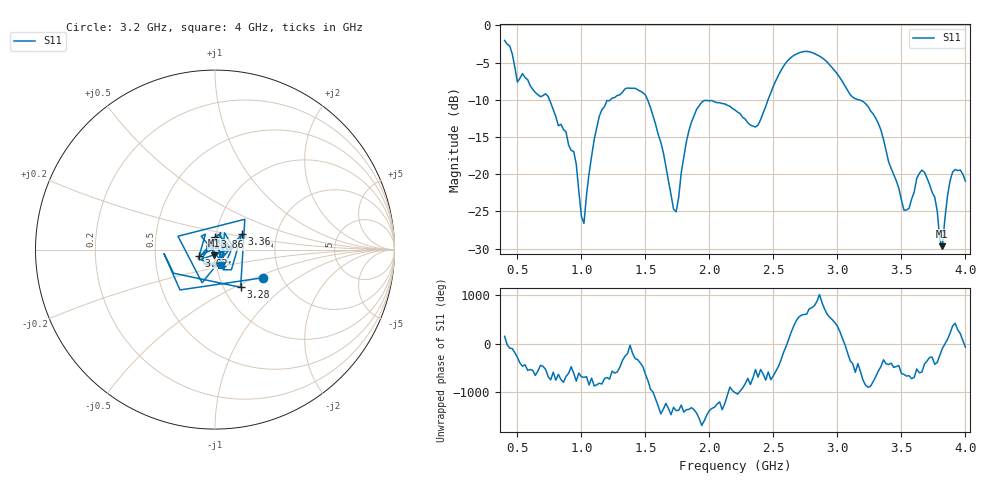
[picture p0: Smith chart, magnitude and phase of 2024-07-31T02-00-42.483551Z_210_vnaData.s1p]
!Created with skrf (http://scikit-rf.org).
# Hz S RI R 50.0
!freq ReS11 ImS11
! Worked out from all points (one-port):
!   181 points, 400 MHz to 4 GHz, reference 50 ohm
!   lowest |S11| = -29.7 dB at 3.82 GHz (marker M1), VSWR 1.07, Z = 49.5 - j3.23 ohm
!   |S11| at or under -10 dB: 750.5 MHz to 1.227 GHz (476.7 MHz wide, 48.2 % of centre); 1.517 GHz to 2.458 GHz (941 MHz wide, 47.3 % of centre); 3.166 GHz to end of sweep
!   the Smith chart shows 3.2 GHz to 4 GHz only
!   S11 on the Smith chart (normalised r, x): 3.2 GHz: 1.61, -0.56; 3.28 GHz: 1.20, -0.54; 3.36 GHz: 1.33, +0.23; 3.62 GHz: 0.84, -0.06; 3.86 GHz: 0.99, +0.14; 4 GHz: 1.05, -0.18
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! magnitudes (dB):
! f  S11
! 400 MHz  -2.0
! 500 MHz  -7.6
! 720 MHz  -9.2
! 860 MHz  -14.0
! 940 MHz  -16.9
! 1.02 GHz  -26.6
! 1.14 GHz  -12.2
! 1.3 GHz  -9.3
! 1.5 GHz  -9.4
! 1.72 GHz  -24.7
! 1.76 GHz  -23.1
! 1.82 GHz  -15.6
! 1.9 GHz  -11.3
! 2.2 GHz  -11.4
! 2.38 GHz  -13.4
! 2.66 GHz  -4.0
! 2.88 GHz  -4.4
! 3.1 GHz  -9.3
! 3.2 GHz  -10.2
! 3.28 GHz  -11.9
! 3.36 GHz  -15.3
! 3.56 GHz  -24.6
! 3.62 GHz  -20.5
! 3.76 GHz  -23.1
! 3.82 GHz  -29.7
! 3.86 GHz  -23.0
! 3.92 GHz  -19.4
! 4 GHz  -20.9
